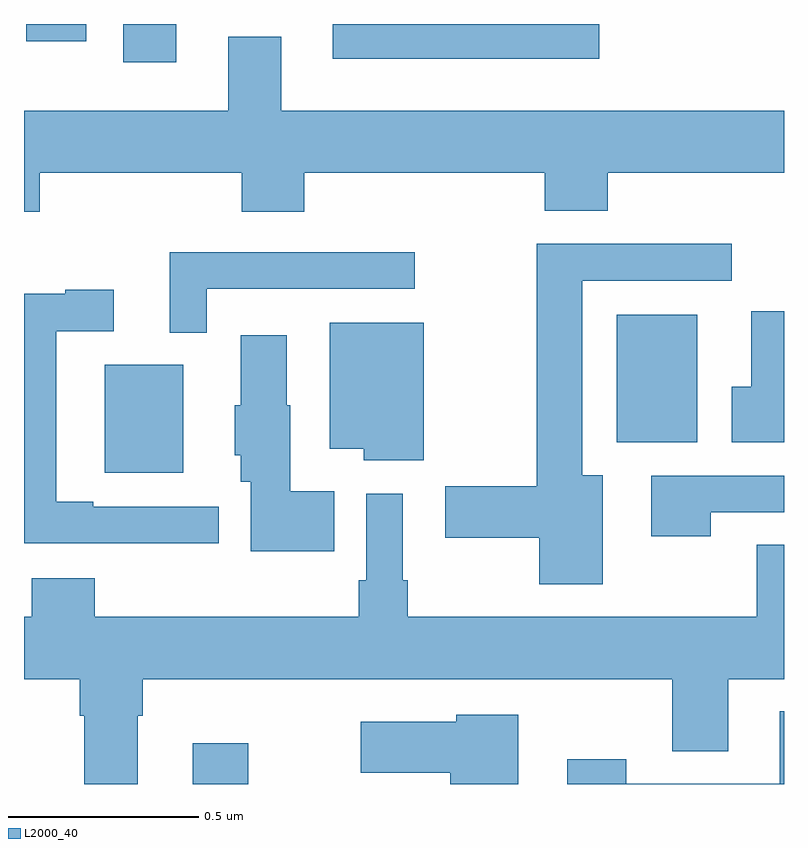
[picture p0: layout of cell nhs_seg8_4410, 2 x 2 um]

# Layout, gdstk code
import gdstk
lib = gdstk.Library(unit=1e-6, precision=1e-09)
def R(c, l, rs):  # rectangles x0, y0, x1, y1
    for r in rs: c.add(gdstk.rectangle(r[:2], r[2:], *l))
def P(c, l, *ps):  # polygons
    for p in ps: c.add(gdstk.Polygon(p, *l))
L2000_40 = (2000, 40)

nhs_seg8_4410 = lib.new_cell('nhs_seg8_4410')
R(nhs_seg8_4410, L2000_40, [(170.444,1106.9,170.59,1107.007), (170.213,1107.719,170.419,1108.003), (171.56,1107.8,171.772,1108.135), (170.261,1108.8,170.401,1108.9), (170.813,1108.808,171.514,1108.9), (170.006,1108.854,170.164,1108.9)])
P(nhs_seg8_4410, L2000_40, [(170.042,1108.508),(170.573,1108.508),(170.573,1108.406),(170.738,1108.406),(170.738,1108.508),(171.371,1108.508),(171.371,1108.409),(171.536,1108.409),(171.536,1108.508),(172,1108.508),(172,1108.672),(170.677,1108.672),(170.677,1108.867),(170.537,1108.867),(170.537,1108.672),(170,1108.672),(170,1108.406),(170.042,1108.406)],
  [(171.523,1107.712),(171.469,1107.712),(171.469,1108.224),(171.862,1108.224),(171.862,1108.322),(171.349,1108.322),(171.349,1107.683),(171.108,1107.683),(171.108,1107.548),(171.356,1107.548),(171.356,1107.426),(171.523,1107.426)],
  [(170.481,1108.203),(171.028,1108.203),(171.028,1108.299),(170.384,1108.299),(170.384,1108.088),(170.481,1108.088)],
  [(170.512,1107.63),(170.182,1107.63),(170.182,1107.643),(170.085,1107.643),(170.085,1108.092),(170.236,1108.092),(170.236,1108.201),(170.108,1108.201),(170.108,1108.19),(170,1108.19),(170,1107.534),(170.269,1107.534),(170.269,1107.533),(170.512,1107.533)],
  [(172,1108.144),(171.914,1108.144),(171.914,1107.946),(171.863,1107.946),(171.863,1107.8),(172,1107.8)],
  [(171.052,1108.114),(170.804,1108.114),(170.804,1107.782),(170.894,1107.782),(170.894,1107.752),(171.052,1107.752)],
  [(170.816,1107.67),(170.701,1107.67),(170.701,1107.897),(170.692,1107.897),(170.692,1108.081),(170.57,1108.081),(170.57,1107.897),(170.555,1107.897),(170.555,1107.765),(170.57,1107.765),(170.57,1107.696),(170.597,1107.696),(170.597,1107.512),(170.816,1107.512)],
  [(171.807,1107.615),(172,1107.615),(172,1107.711),(171.651,1107.711),(171.651,1107.552),(171.807,1107.552)],
  [(170.299,1107.08),(170.312,1107.08),(170.312,1107.176),(171.706,1107.176),(171.706,1106.986),(171.853,1106.986),(171.853,1107.176),(172,1107.176),(172,1107.53),(171.928,1107.53),(171.928,1107.34),(171.01,1107.34),(171.01,1107.436),(170.997,1107.436),(170.997,1107.664),(170.901,1107.664),(170.901,1107.436),(170.881,1107.436),(170.881,1107.34),(170.186,1107.34),(170.186,1107.442),(170.021,1107.442),(170.021,1107.34),(170,1107.34),(170,1107.176),(170.147,1107.176),(170.147,1107.08),(170.159,1107.08),(170.159,1106.9),(170.299,1106.9)],
  [(172,1107.091),(171.989,1107.091),(171.989,1106.901),(171.585,1106.901),(171.585,1106.965),(171.429,1106.965),(171.429,1106.9),(172,1106.9)],
  [(171.301,1107.082),(171.138,1107.082),(171.138,1107.064),(170.886,1107.064),(170.886,1106.93),(171.122,1106.93),(171.122,1106.9),(171.301,1106.9)])

lib.write_gds('nhs_seg8_4410.gds')
